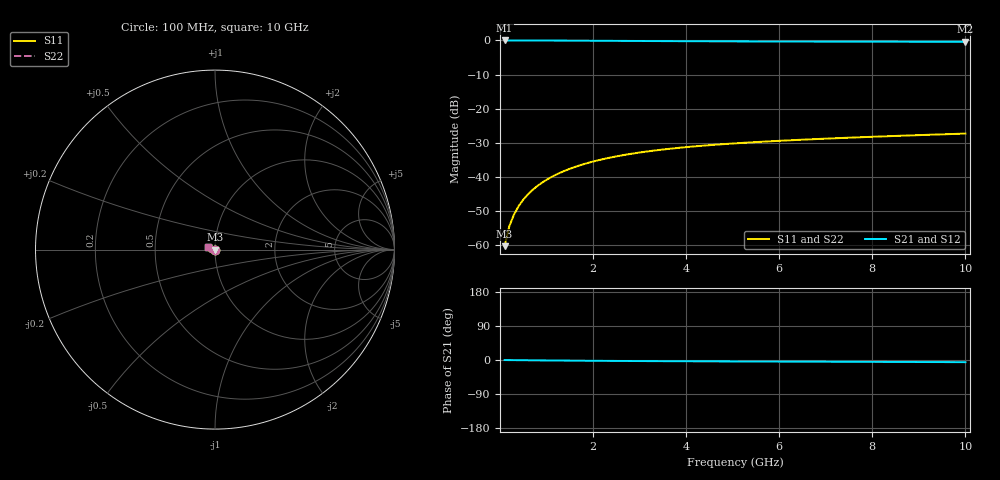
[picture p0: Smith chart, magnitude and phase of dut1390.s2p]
! Touchstone file exported from HFSS 2024.1.0
!  File:  C:/UserFiles/LocalFiles/RDL_TSV_Batchsim/temp_TSV1_1390_1780381066.aedt
!  Generated:  02:22:58 PM Jun  2, 2026
!  Design:  TSV1
!  Project:  temp_TSV1_1390_1780381066
!  Setup:  Setup1
!  Solution:  Sweep
! Variables:
!  dtsv = 7.32um
!  hbump = 3um
!  htsv = 88.28um
!  lrdl = 252.1521522um
!  p = 40
!  p1 = 47.85um
!  t = 500um
!  trdl = 3um
!  wrdl = 24.89489489um
# GHz S MA R 50.000000
! Terminal data exported
! Port[1] = TSV22_T1
! Port[2] = TSV22_T2
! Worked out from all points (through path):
!   100 points, 100 MHz to 10 GHz, reference 50 ohm
!   highest |S21| = 0.00 dB at 100 MHz (marker M1); lowest = -0.4 dB at 10 GHz (marker M2)
!   lowest |S11| = -60.4 dB at 100 MHz (marker M3), VSWR 1.00, Z = 50 - j0.0926 ohm
!   |S11| at or under -10 dB: start of sweep to end of sweep
!   |S22| runs from -60.4 to -27.3 dB; largest |S21 - S12| = 4.4e-15
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0.1  0.0009598 -74.5  0.9997 -0.1  0.9997 -0.1  0.0009598 -74.5
! Gamma 0 0 0 0
! Port Impedance 50 0 50 0
0.2  0.00187 -84.8  0.9996 -0.2  0.9996 -0.2  0.00187 -84.8
0.3  0.002788 -89.7  0.9994 -0.4  0.9994 -0.4  0.002788 -89.7
0.4  0.003703 -93.1  0.9992 -0.5  0.9992 -0.5  0.003703 -93.1
0.5  0.004613 -95.8  0.9989 -0.6  0.9989 -0.6  0.004613 -95.8
0.6  0.005516 -98.3  0.9986 -0.7  0.9986 -0.7  0.005516 -98.3
0.7  0.00641 -100.6  0.9982 -0.8  0.9982 -0.8  0.00641 -100.6
0.8  0.007293 -102.7  0.9977 -0.9  0.9977 -0.9  0.007293 -102.7
0.9  0.008164 -104.8  0.9973 -1.0  0.9973 -1.0  0.008164 -104.8
1.1  0.009866 -108.8  0.9962 -1.2  0.9962 -1.2  0.009866 -108.8
1.4  0.01231 -114.4  0.9942 -1.5  0.9942 -1.5  0.01231 -114.4
1.6  0.01385 -118.0  0.9928 -1.7  0.9928 -1.7  0.01385 -118.0
1.8  0.01532 -121.4  0.9913 -1.9  0.9913 -1.9  0.01532 -121.4
2.1  0.0174 -126.3  0.989 -2.2  0.989 -2.2  0.0174 -126.3
2.5  0.01992 -132.5  0.9858 -2.5  0.9858 -2.5  0.01992 -132.5
2.9  0.02217 -138.2  0.9826 -2.7  0.9826 -2.7  0.02217 -138.2
3.4  0.02465 -144.8  0.9789 -3.0  0.9789 -3.0  0.02465 -144.8
4.2  0.02799 -154.2  0.9737 -3.4  0.9737 -3.4  0.02799 -154.2
5.1  0.03108 -163.4  0.9689 -3.8  0.9689 -3.8  0.03108 -163.4
6.7  0.03551 -176.8  0.9626 -4.4  0.9626 -4.4  0.03551 -176.8
8.4  0.03951 171.7  0.958 -5.1  0.958 -5.1  0.03951 171.7
10  0.04302 162.7  0.955 -5.7  0.955 -5.7  0.04302 162.7
